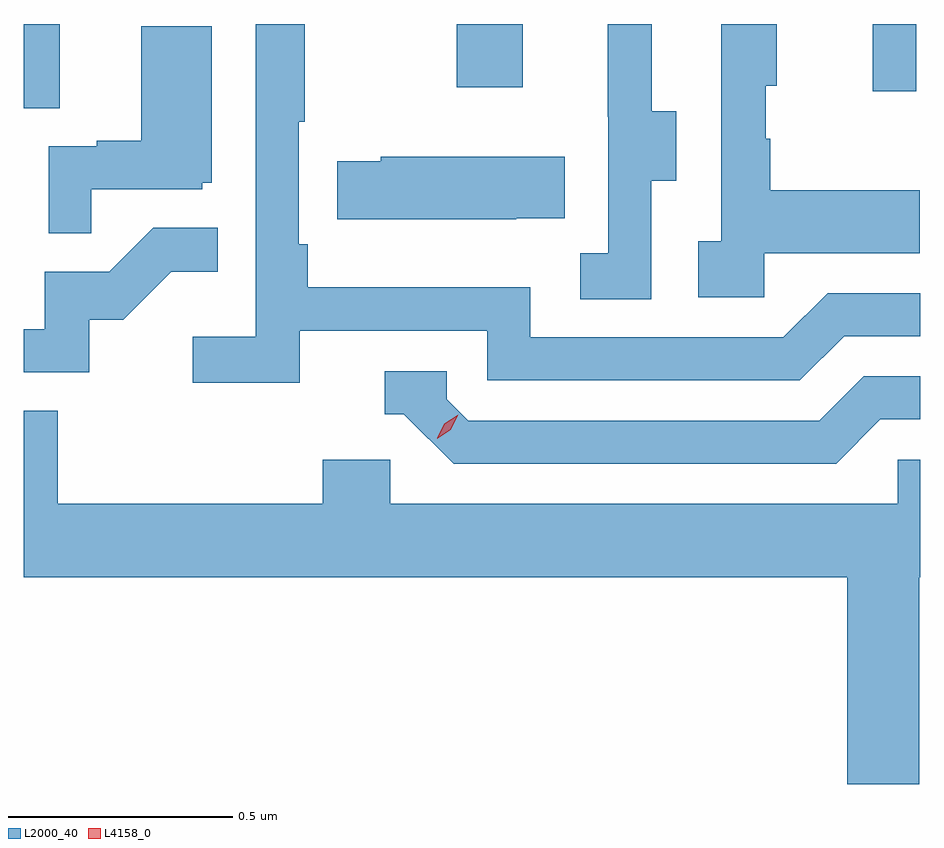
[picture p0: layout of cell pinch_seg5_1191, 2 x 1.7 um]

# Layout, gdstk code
import gdstk
lib = gdstk.Library(unit=1e-6, precision=1e-09)
def R(c, l, rs):  # rectangles x0, y0, x1, y1
    for r in rs: c.add(gdstk.rectangle(r[:2], r[2:], *l))
def P(c, l, *ps):  # polygons
    for p in ps: c.add(gdstk.Polygon(p, *l))
L2000_40 = (2000, 40)
L4158_0 = (4158, 0)

pinch_seg5_1191 = lib.new_cell('pinch_seg5_1191')
R(pinch_seg5_1191, L2000_40, [(869.266,837.826,869.347,838.014), (871.16,837.864,871.257,838.014), (870.232,837.873,870.379,838.014)])
P(pinch_seg5_1191, L2000_40, [(869.882,837.33),(870.3,837.33),(870.3,837.219),(870.997,837.219),(871.096,837.318),(871.266,837.318),(871.266,837.414),(871.059,837.414),(870.96,837.315),(870.396,837.315),(870.396,837.427),(869.9,837.427),(869.9,837.523),(869.88,837.523),(869.88,837.796),(869.893,837.796),(869.893,838.014),(869.784,838.014),(869.784,837.316),(869.643,837.316),(869.643,837.214),(869.882,837.214)],
  [(870.918,837.503),(871.265,837.503),(871.265,837.643),(870.931,837.643),(870.931,837.758),(870.921,837.758),(870.921,837.876),(870.946,837.876),(870.946,838.014),(870.822,838.014),(870.822,837.53),(870.771,837.53),(870.771,837.405),(870.918,837.405)],
  [(870.666,837.664),(870.721,837.664),(870.721,837.819),(870.667,837.819),(870.667,838.014),(870.569,838.014),(870.569,837.807),(870.57,837.807),(870.57,837.503),(870.507,837.503),(870.507,837.4),(870.666,837.4)],
  [(869.417,837.645),(869.664,837.645),(869.664,837.66),(869.686,837.66),(869.686,838.009),(869.528,838.009),(869.528,837.754),(869.429,837.754),(869.429,837.741),(869.322,837.741),(869.322,837.547),(869.417,837.547)],
  [(870.365,837.581),(870.473,837.581),(870.473,837.718),(870.063,837.718),(870.063,837.708),(869.965,837.708),(869.965,837.578),(870.365,837.578)],
  [(869.412,837.354),(869.488,837.354),(869.595,837.461),(869.699,837.461),(869.699,837.56),(869.555,837.56),(869.457,837.462),(869.313,837.462),(869.313,837.333),(869.266,837.333),(869.266,837.237),(869.412,837.237)],
  [(871.177,837.132),(871.266,837.132),(871.266,837.228),(871.14,837.228),(871.041,837.129),(870.258,837.129),(870.21,837.177),(870.21,837.24),(870.071,837.24),(870.071,837.144),(870.114,837.144),(870.225,837.033),(871.078,837.033)],
  [(869.933,837.042),(869.933,836.944),(869.342,836.944),(869.342,837.152),(869.266,837.152),(869.266,836.78),(871.103,836.78),(871.103,836.319),(871.263,836.319),(871.263,836.78),(871.266,836.78),(871.266,837.042),(871.215,837.042),(871.215,836.944),(870.084,836.944),(870.084,837.042)])
P(pinch_seg5_1191, L4158_0, [(870.188,837.089),(870.188,837.09),(870.204,837.122),(870.235,837.142),(870.235,837.142),(870.235,837.142),(870.219,837.109),(870.189,837.089)])

lib.write_gds('pinch_seg5_1191.gds')
